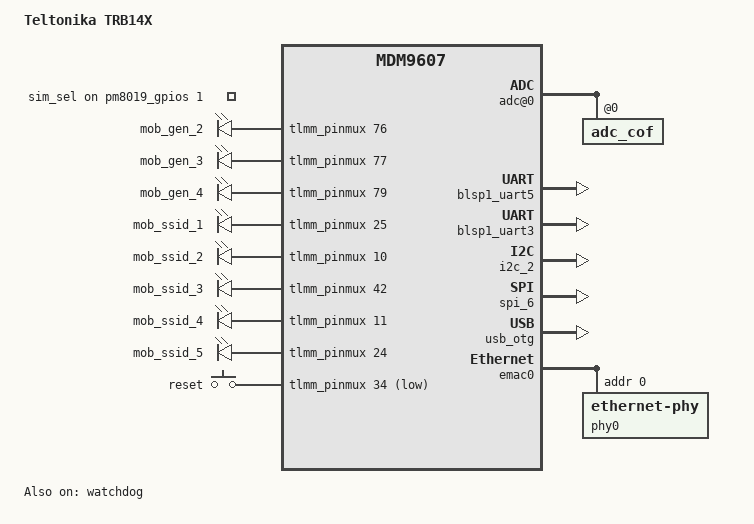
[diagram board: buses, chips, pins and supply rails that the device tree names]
#include <dt-bindings/input/input.h>
#include "mdm9607.dtsi"
#include "platform_name.dtsi"

/ {
	model = "Teltonika TRB14X";
	compatible = "teltonika,trb14x", "qcom,mdm9607";
	qcom,board-id = <8 0>;

	reserved-memory {
		#address-cells = <1>;
		#size-cells = <1>;
		ranges;

		/* 64 KiB reserved for ramoops/pstore */
		ramoops@8fff0000 {
			compatible = "ramoops";
			reg = <0x8fff0000 0x10000>;
			record-size = <0x2000>;
			console-size = <0x3800>;
			pmsg-size = <0x800>;
			no-map;
		};
	};

	gpio-export {
		compatible = "gpio-export";
		#size-cells = <0>;

		gpio_sim_select {
			gpio-export,name = "sim_sel";
			gpio-export,output = <0>;
			gpios = <&pm8019_gpios 1 GPIO_ACTIVE_HIGH>;
			tlt-mnf,device = "TRB145";
			tlt-mnf,device,weak;
			tlt-mnf,hwver = <1100 9999>;
		};
	};

	leds {
		compatible = "gpio-leds";

		led_gen_2 {
			label = "mob_gen_2";
			gpios = <&tlmm_pinmux 76 GPIO_ACTIVE_HIGH>;
		};

		led_gen_3 {
			label = "mob_gen_3";
			gpios = <&tlmm_pinmux 77 GPIO_ACTIVE_HIGH>;
		};

		led_gen_4 {
			label = "mob_gen_4";
			gpios = <&tlmm_pinmux 79 GPIO_ACTIVE_HIGH>;
		};

		led_ssid_1 {
			label = "mob_ssid_1";
			gpios = <&tlmm_pinmux 25 GPIO_ACTIVE_HIGH>;
			linux,default-trigger = "timer";
		};

		led_ssid_2 {
			label = "mob_ssid_2";
			gpios = <&tlmm_pinmux 10 GPIO_ACTIVE_HIGH>;
			linux,default-trigger = "timer";
		};

		led_ssid_3 {
			label = "mob_ssid_3";
			gpios = <&tlmm_pinmux 42 GPIO_ACTIVE_HIGH>;
			linux,default-trigger = "timer";
		};

		led_ssid_4 {
			label = "mob_ssid_4";
			gpios = <&tlmm_pinmux 11 GPIO_ACTIVE_HIGH>;
			linux,default-trigger = "timer";
		};

		led_ssid_5 {
			label = "mob_ssid_5";
			gpios = <&tlmm_pinmux 24 GPIO_ACTIVE_HIGH>;
			linux,default-trigger = "timer";
		};
	};

	gpio_keys {
		compatible = "gpio-keys";

		reset {
			gpios = <&tlmm_pinmux 34 GPIO_ACTIVE_LOW>;
			linux,code = <KEY_RESTART>;
		};
	};

	tlt_gpios { // Modify according to wiki page "DTS syntax with Libgpiod changes"
		gpiochip_info {
			hw_0 {
				hwver = <0>;
				gpiochip_count = <3>;

				gpiochip_0 = <80>; // Built-in
				gpiochip_1 = <6>;  // Built-in
				gpiochip_2 = <6>;  // Built-in
			};
		};

		ioman {
			GPIO_13 {
				line_name = "GPIO_IN_1";
				active_low;
			};
			GPIO_16 {
				line_name = "GPIO_OUT_1";
			};
			GPIO_17 {
				line_name = "GPIO_IN_2";
				active_low;
			};
			GPIO_78 {
				line_name = "GPIO_OUT_2";
			};
			GPIO_80 {
				compatible_model_0 = "TRB141";
				line_name_0 = "GPIO_ONEWIRE";

				compatible_model_1 = "TRB145";
				compatible_versions_1 = <11 99>;
				line_name_1 = "GPIO_SIM_SELECT";
			};
			GPIO_83 {
				compatible_model = "TRB141";
				line_name = "GPIO_ISOLATED_INPUT";
				active_low;
			};
			GPIO_12 {
				compatible_model = "TRB141";
				line_name = "GPIO_DWI_TOGGLE_1";
			};
			GPIO_14 {
				compatible_model = "TRB141";
				line_name = "GPIO_DWI_INPUT_1";
			};
			GPIO_15 {
				compatible_model = "TRB141";
				line_name = "GPIO_DWI_INPUT_2";
			};
			GPIO_20 {
				compatible_model = "TRB141";
				line_name = "GPIO_RELAY_OPEN_1";
			};
			GPIO_21 {
				compatible_model = "TRB141";
				line_name = "GPIO_RELAY_CLOSE_2";
			};
			GPIO_22 {
				compatible_model = "TRB141";
				line_name = "GPIO_RELAY_CLOSE_1";
			};
			GPIO_23 {
				compatible_model = "TRB141";
				line_name = "GPIO_RELAY_OPEN_2";
			};
			GPIO_26 {
				compatible_model = "TRB141";
				line_name = "GPIO_ACL";
			};
			GPIO_38 {
				compatible_model = "TRB141";
				line_name = "GPIO_DWI_TOGGLE_2";
			};
		};

		misc {
			GPIO_75 {
				compatible_model = "TRB142";
				line_name = "GPIO_RS232_DSR";
			};
			GPIO_5 {
				compatible_model = "TRB145";
				line_name = "GPIO_RS485_RX_EN";
			};
			GPIO_4 {
				compatible_model = "TRB142";
				line_name = "GPIO_RS232_DCD";
			};
		};
	};

	ioman {
		layout@0 {
			compatible = "TRB140,TRB142,TRB143,TRB145";

			io@0 { // 4pin #3
				label = "dio0";
				block_type = BLOCK_4PIN;
				block_pin = "3";
				default_direction = "out";
				gpio_in = "GPIO_IN_1";
				gpio_out = "GPIO_OUT_1";
				io_param = "g0";
			};
			io@1 { // 4pin #4
				label = "dio1";
				block_type = BLOCK_4PIN;
				block_pin = "4";
				default_direction = "in";
				gpio_in = "GPIO_IN_2";
				gpio_out = "GPIO_OUT_2";
				io_param = "g1";
			};
			thermal@0 {
				label = "temp";
				list = "0,1,2,3,4";
			};
		};
		layout@1 {
			compatible = "TRB141";

			io@0 { // 4pin #3
				label = "dio0";
				block_type = BLOCK_4PIN;
				block_pin = "3";
				default_direction = "out";
				gpio_in = "GPIO_IN_1";
				gpio_out = "GPIO_OUT_1";
				io_param = "g4";
			};
			io@1 { // 4pin #4
				label = "dio1";
				block_type = BLOCK_4PIN;
				block_pin = "4";
				default_direction = "in";
				gpio_in = "GPIO_IN_2";
				gpio_out = "GPIO_OUT_2";
				io_param = "g5";
			};
			io@2 {
				label = "onewire";
				block_type = BLOCK_16PIN;
				block_pin = "15";
				default_direction = "out";
				default_state = "1";
				gpio_out = "GPIO_ONEWIRE";
			};
			io@3 {
				label ="iio";
				block_type = BLOCK_16PIN;
				block_pin = "8,16";
				gpio_in = "GPIO_ISOLATED_INPUT";
				io_param = "g6";
				counter_support = "0"; // Hardware incompatibility
			};
			relay@0 {
				label = "relay0";
				block_type = BLOCK_16PIN;
				block_pin = "3,4,5";
				default_state = "open";
				gpio_open = "GPIO_RELAY_OPEN_1";
				gpio_close = "GPIO_RELAY_CLOSE_1";
				io_param = "g7";
			};
			relay@1 {
				label = "relay1";
				block_type = BLOCK_16PIN;
				block_pin = "11,12,13";
				default_state = "closed";
				web_str = "Latching Relay";
				gpio_open = "GPIO_RELAY_OPEN_2";
				gpio_close = "GPIO_RELAY_CLOSE_2";
				io_param = "g8";
			};
			dwi@0 {
				label = "dwi0";
				block_type = BLOCK_16PIN;
				block_pin = "1";
				default_state = "dry";
				dwi_input = "GPIO_DWI_INPUT_1";
				dwi_toggle = "GPIO_DWI_TOGGLE_1";
				io_param = "g2";
			};
			dwi@1 {
				label = "dwi1";
				block_type = BLOCK_16PIN;
				block_pin = "2";
				default_state = "wet";
				dwi_input = "GPIO_DWI_INPUT_2";
				dwi_toggle = "GPIO_DWI_TOGGLE_2";
				io_param = "g3";
			};
			adc@0 {
				label = "adc0";
				block_type = BLOCK_16PIN;
				block_pin = "7";
				tolerance = "0.05";
				path = "in_voltage35_input";
				io_param = "g1";
				adc_cof@0 {
					divider ="126582.278481013"; //1000000.0 / 7.9
				};
			};
			acl@0 {
				label = "acl0";
				block_type = BLOCK_16PIN;
				block_pin = "7";
				tolerance = "0.00004";
				path = "in_voltage37_input";
				gpio_out = "GPIO_ACL";
				io_param = "g0";
				adc_cof@0 {
					divider ="120000000"; //120.0 * 1000000.0
				};
			};
			thermal@0 {
				label = "temp";
				list = "0,1,2,3,4";
			};
		};
	};

	config: config_partition {
		label = "mnf_info";
	};

	mnfinfo: mnfinfo {
		compatible = "sysfs-mnfinfo";
		status = "okay";
		#address-cells = <2>;
		#size-cells = <1>;

		mac {
			reg = <&config 0x50 0xc>;
			default = "001E42013370";
			min-res-len = <0xc>;
			type = "ascii";
			log;
		};

		maceth {
			reg = <&config 0x50 0xc>;
			default = "001E42013371";
			min-res-len = <0xc>;
			type = "maceth_ascii";
		};

		serial {
			reg = <&config 0x10 0x10>;
			type = "alnum";
			default = "0000000000";
			log;
		};

		name {
			reg = <&config 0x20 0xc>;
			type = "ascii";
			default = "UNKNOWNXXXXX";
			log;
		};

		hwver {
			reg = <&config 0x30 0x4>;
			type = "digit";
			default = "0000";
			log;
		};

		branch {
			reg = <&config 0x38 0x4>;
			type = "ascii";
			default = "";
			log;
		};

		hwver_lo {
			reg = <&config 0x34 0x4>;
			type = "digit";
			default = "0000";
			log;
		};

		batch {
			reg = <&config 0x40 0x4>;
			type = "digit";
			default = "0000";
			log;
		};

		mob_cfg {
			reg = <&config 0x66 0x4>;
			type = "digit";
			default = "0000";
			sec;
		};

		simpin1 {
			reg = <&config 0x70 0x10>;
			type = "digit";
			default = "";
			sec;
		};

		pass {
			reg = <&config 0x80 0x6a>;
			type = "ascii";
			sec;
		};

		sim_cfg {
			reg = <&config 0xF0 0x20>;
			type = "simcfg";
			default = "0110000";
			log;
		};

		profiles {
			reg = <&config 0x110 0x80>;
			type = "ascii";
			default = "";
		};

		sim_count {
			default =  "1";
			log;
		};
	};
};

&watchdog {
	status = "ok";
};

&blsp1_uart5 {
	status = "ok";
};

&blsp1_uart3 {
	status = "ok";
	tlt-mnf,device = "TRB145", "TRB142", "TRB143";
	tlt-mnf,device,weak;
	linux,rs485-enabled-at-boot-time;
	rs485-rx-during-tx;
	qcom,rts-gpio = <&tlmm_pinmux 26 0x00>;
};

&i2c_2 {
	status = "ok";
};

&spi_6 {
	status = "ok";
};

&usb_otg {
	status = "ok";
};

&emac0 {
	status = "ok";
	tlt-mnf,device = "TRB143", "TRB140";
    /* This lets tlt-mnf,device check to pass if device name is not retrieved
	due to early probing of driver if device name is not passed by bootloader */
	tlt-mnf,device,weak;
	phy0: ethernet-phy@0 {
		reg = <0>;
		phy-mode = "sgmii";
	};
};

